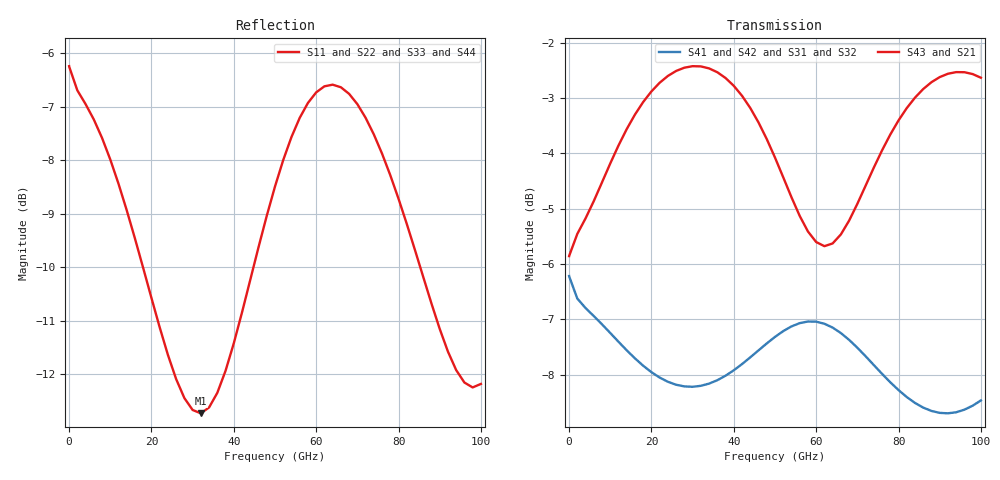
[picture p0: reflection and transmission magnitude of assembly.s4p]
#  GHZ S DB R 50
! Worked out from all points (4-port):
!   52 points, 10 MHz to 100 GHz, reference 50 ohm
!   strongest paths, dB at 10 MHz, 24 GHz, 50 GHz, 76 GHz, 100 GHz:
!     S43: -5.9, -2.6, -4.1, -3.9, -2.6
!     S21: -5.9, -2.6, -4.1, -4.0, -2.6
!     S41: -6.2, -8.1, -7.3, -8.0, -8.5
!     S42: -6.2, -8.1, -7.3, -8.0, -8.5
!     S31: -6.2, -8.1, -7.3, -8.0, -8.5
!     S32: -6.2, -8.1, -7.3, -8.0, -8.5
!   lowest |S11| = -12.7 dB at 32 GHz (marker M1), VSWR 1.60, Z = 31.5 + j3.24 ohm
!   |S11| at or under -10 dB: 17.95 GHz to 44.77 GHz (26.82 GHz wide, 85.5 % of centre); 85.28 GHz to end of sweep
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0.01  -6.24 179.9  -5.86 0.1  -6.21 -0.1  -6.21 -0.1
      -5.86 0.1  -6.24 179.9  -6.21 -0.1  -6.21 -0.1
      -6.21 -0.1  -6.21 -0.1  -6.24 179.9  -5.86 0.1
      -6.21 -0.1  -6.21 -0.1  -5.86 0.1  -6.24 179.9
14  -8.93 155.9  -3.56 6.0  -7.56 -46.6  -7.56 -46.6
    -3.56 6.0  -8.94 155.9  -7.56 -46.6  -7.56 -46.6
    -7.56 -46.6  -7.56 -46.6  -8.93 155.9  -3.56 6.0
    -7.56 -46.6  -7.56 -46.6  -3.56 6.0  -8.94 155.9
32  -12.73 167.8  -2.43 -9.3  -8.20 -94.2  -8.20 -94.2
    -2.43 -9.3  -12.73 167.8  -8.20 -94.2  -8.20 -94.2
    -8.20 -94.2  -8.20 -94.2  -12.73 167.7  -2.43 -9.2
    -8.20 -94.2  -8.20 -94.2  -2.43 -9.2  -12.73 167.7
48  -9.04 179.8  -3.74 -22.6  -7.43 -138.9  -7.43 -138.8
    -3.74 -22.6  -9.04 179.8  -7.43 -138.9  -7.43 -138.8
    -7.43 -138.9  -7.43 -138.9  -9.05 179.7  -3.74 -22.6
    -7.43 -138.8  -7.43 -138.8  -3.74 -22.6  -9.05 179.8
62  -6.62 157.6  -5.69 -15.9  -7.08 174.1  -7.08 174.1
    -5.69 -15.9  -6.62 157.6  -7.08 174.1  -7.08 174.1
    -7.08 174.1  -7.08 174.1  -6.64 157.5  -5.68 -15.8
    -7.08 174.1  -7.08 174.1  -5.68 -15.8  -6.64 157.6
78  -8.28 131.0  -3.67 -9.2  -8.14 123.5  -8.13 123.5
    -3.67 -9.2  -8.28 131.0  -8.14 123.5  -8.14 123.5
    -8.14 123.5  -8.14 123.5  -8.30 131.0  -3.66 -9.3
    -8.13 123.5  -8.14 123.5  -3.66 -9.3  -8.30 131.1
100  -12.18 143.0  -2.63 -28.0  -8.46 66.3  -8.46 66.4
     -2.63 -28.0  -12.18 143.0  -8.47 66.3  -8.46 66.3
     -8.46 66.3  -8.47 66.3  -12.18 143.1  -2.63 -28.1
     -8.46 66.4  -8.46 66.3  -2.63 -28.1  -12.19 143.2
